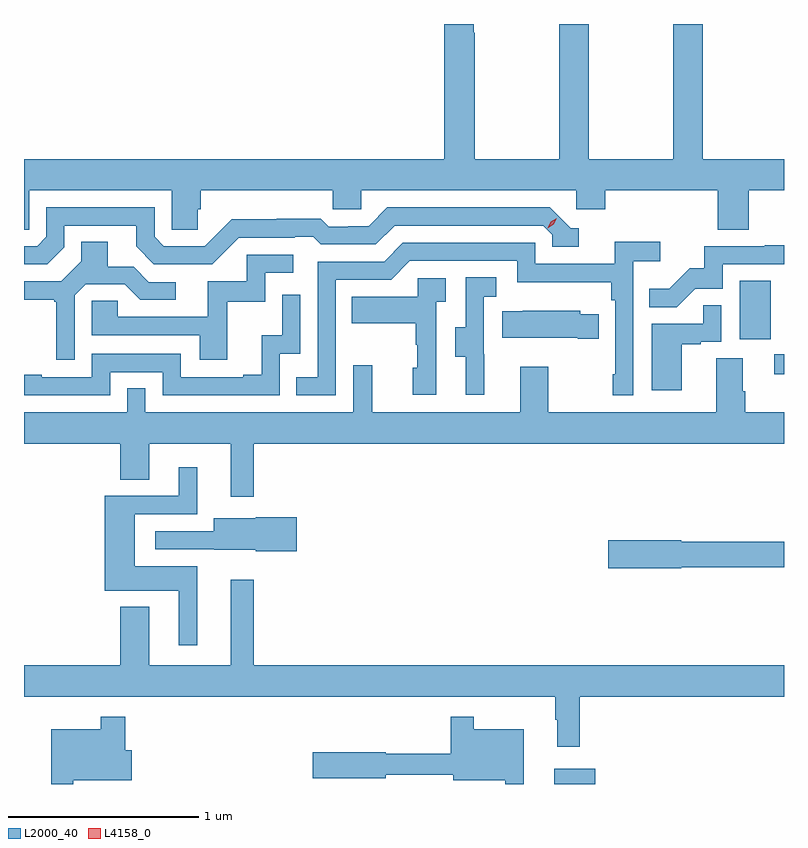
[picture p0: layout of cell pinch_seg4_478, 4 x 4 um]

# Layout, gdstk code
import gdstk
lib = gdstk.Library(unit=1e-6, precision=1e-09)
def R(c, l, rs):  # rectangles x0, y0, x1, y1
    for r in rs: c.add(gdstk.rectangle(r[:2], r[2:], *l))
def P(c, l, *ps):  # polygons
    for p in ps: c.add(gdstk.Polygon(p, *l))
L2000_40 = (2000, 40)
L4158_0 = (4158, 0)

pinch_seg4_478 = lib.new_cell('pinch_seg4_478')
R(pinch_seg4_478, L2000_40, [(926.735,753.736,926.95,753.817), (927.891,755.892,927.943,755.997), (927.71,756.078,927.874,756.385)])
P(pinch_seg4_478, L2000_40, [(923.97,756.86),(924.72,756.86),(924.72,756.652),(924.857,756.652),(924.857,756.762),(924.872,756.762),(924.872,756.86),(925.569,756.86),(925.569,756.762),(925.719,756.762),(925.719,756.86),(926.85,756.86),(926.85,756.762),(927.002,756.762),(927.002,756.86),(927.593,756.86),(927.593,756.652),(927.758,756.652),(927.758,756.86),(927.943,756.86),(927.943,757.024),(927.516,757.024),(927.516,757.736),(927.361,757.736),(927.361,757.024),(926.916,757.024),(926.916,757.736),(926.761,757.736),(926.761,757.024),(926.316,757.024),(926.316,757.691),(926.311,757.691),(926.311,757.736),(926.156,757.736),(926.156,757.024),(923.943,757.024),(923.943,756.652),(923.97,756.652)],
  [(924.156,756.561),(924.156,756.675),(924.533,756.675),(924.533,756.565),(924.627,756.471),(924.933,756.471),(925.074,756.612),(925.367,756.612),(925.367,756.615),(925.466,756.615),(925.505,756.576),(925.794,756.576),(925.893,756.675),(926.676,756.675),(926.724,756.627),(926.724,756.564),(926.863,756.564),(926.863,756.66),(926.82,756.66),(926.709,756.771),(925.856,756.771),(925.757,756.672),(925.65,756.672),(925.65,756.669),(925.547,756.669),(925.505,756.712),(925.272,756.712),(925.272,756.709),(925.036,756.709),(924.894,756.567),(924.678,756.567),(924.63,756.615),(924.63,756.771),(924.06,756.771),(924.06,756.615),(924.012,756.567),(923.943,756.567),(923.943,756.471),(924.066,756.471)],
  [(925.584,756.39),(925.875,756.39),(925.974,756.489),(926.538,756.489),(926.538,756.377),(927.034,756.377),(927.034,756.281),(927.054,756.281),(927.054,755.893),(927.042,755.893),(927.042,755.781),(927.15,755.781),(927.15,756.488),(927.292,756.488),(927.292,756.59),(927.053,756.59),(927.053,756.474),(926.634,756.474),(926.634,756.585),(925.937,756.585),(925.838,756.486),(925.488,756.486),(925.488,755.877),(925.375,755.877),(925.375,755.781),(925.584,755.781)],
  [(924.21,756.309),(924.267,756.366),(924.473,756.366),(924.554,756.285),(924.742,756.285),(924.742,756.378),(924.6,756.378),(924.52,756.458),(924.385,756.458),(924.385,756.59),(924.245,756.59),(924.245,756.488),(924.138,756.381),(923.943,756.381),(923.943,756.284),(924.102,756.284),(924.102,756.273),(924.113,756.273),(924.113,755.97),(924.21,755.97)],
  [(927.477,756.342),(927.621,756.342),(927.621,756.471),(927.943,756.471),(927.943,756.572),(927.841,756.572),(927.841,756.567),(927.523,756.567),(927.523,756.45),(927.446,756.45),(927.339,756.343),(927.235,756.343),(927.235,756.244),(927.379,756.244)],
  [(925.013,756.273),(925.212,756.273),(925.212,756.426),(925.36,756.426),(925.36,756.522),(925.116,756.522),(925.116,756.381),(924.911,756.381),(924.911,756.195),(924.437,756.195),(924.437,756.279),(924.3,756.279),(924.3,756.099),(924.869,756.099),(924.869,755.97),(925.013,755.97)],
  [(926.366,755.997),(926.364,755.997),(926.364,756.301),(926.428,756.301),(926.428,756.404),(926.268,756.404),(926.268,756.141),(926.213,756.141),(926.213,755.986),(926.267,755.986),(926.267,755.784),(926.366,755.784)],
  [(926.112,756.275),(926.164,756.275),(926.164,756.399),(926.016,756.399),(926.016,756.301),(925.669,756.301),(925.669,756.161),(926.004,756.161),(926.004,756.047),(926.014,756.047),(926.014,755.928),(925.988,755.928),(925.988,755.784),(926.112,755.784)],
  [(924.396,755.904),(924.672,755.904),(924.672,755.781),(925.29,755.781),(925.29,756),(925.398,756),(925.398,756.31),(925.302,756.31),(925.302,756.098),(925.193,756.098),(925.193,755.89),(925.097,755.89),(925.097,755.877),(924.768,755.877),(924.768,756),(924.3,756),(924.3,755.877),(924.037,755.877),(924.037,755.89),(923.943,755.89),(923.943,755.781),(924.396,755.781)],
  [(927.406,756.051),(927.506,756.051),(927.506,756.063),(927.612,756.063),(927.612,756.257),(927.517,756.257),(927.517,756.159),(927.248,756.159),(927.248,755.808),(927.406,755.808)],
  [(926.969,756.208),(926.871,756.208),(926.871,756.226),(926.569,756.226),(926.569,756.223),(926.461,756.223),(926.461,756.086),(926.858,756.086),(926.858,756.079),(926.969,756.079)],
  [(925.153,755.528),(927.943,755.528),(927.943,755.692),(927.74,755.692),(927.74,755.804),(927.727,755.804),(927.727,755.978),(927.587,755.978),(927.587,755.692),(926.703,755.692),(926.703,755.932),(926.555,755.932),(926.555,755.692),(925.775,755.692),(925.775,755.941),(925.677,755.941),(925.677,755.692),(924.582,755.692),(924.582,755.819),(924.486,755.819),(924.486,755.692),(923.943,755.692),(923.943,755.528),(924.449,755.528),(924.449,755.338),(924.601,755.338),(924.601,755.528),(925.031,755.528),(925.031,755.247),(925.153,755.247)],
  [(924.856,754.882),(924.526,754.882),(924.526,755.157),(924.856,755.157),(924.856,755.404),(924.758,755.404),(924.758,755.253),(924.368,755.253),(924.368,754.754),(924.758,754.754),(924.758,754.467),(924.856,754.467)],
  [(925.378,755.139),(925.164,755.139),(925.164,755.134),(924.941,755.134),(924.941,755.067),(924.633,755.067),(924.633,754.971),(924.945,754.971),(924.945,754.97),(925.164,754.97),(925.164,754.961),(925.378,754.961)],
  [(927.402,754.876),(927.943,754.876),(927.943,755.012),(927.402,755.012),(927.402,755.018),(927.018,755.018),(927.018,754.871),(927.402,754.871)],
  [(926.867,754.196),(927.943,754.196),(927.943,754.36),(925.153,754.36),(925.153,754.81),(925.031,754.81),(925.031,754.36),(924.601,754.36),(924.601,754.669),(924.449,754.669),(924.449,754.36),(923.943,754.36),(923.943,754.196),(926.739,754.196),(926.739,754.073),(926.75,754.073),(926.75,753.933),(926.867,753.933)],
  [(924.203,753.755),(924.511,753.755),(924.511,753.913),(924.476,753.913),(924.476,754.09),(924.348,754.09),(924.348,754.024),(924.086,754.024),(924.086,753.736),(924.203,753.736)],
  [(926.572,754.024),(926.311,754.024),(926.311,754.09),(926.19,754.09),(926.19,753.895),(925.848,753.895),(925.848,753.903),(925.464,753.903),(925.464,753.766),(925.848,753.766),(925.848,753.786),(926.201,753.786),(926.201,753.755),(926.475,753.755),(926.475,753.736),(926.572,753.736)])
P(pinch_seg4_478, L4158_0, [(926.699,756.662),(926.699,756.663),(926.715,756.695),(926.746,756.714),(926.746,756.714),(926.746,756.714),(926.73,756.681),(926.699,756.662)])

lib.write_gds('pinch_seg4_478.gds')
